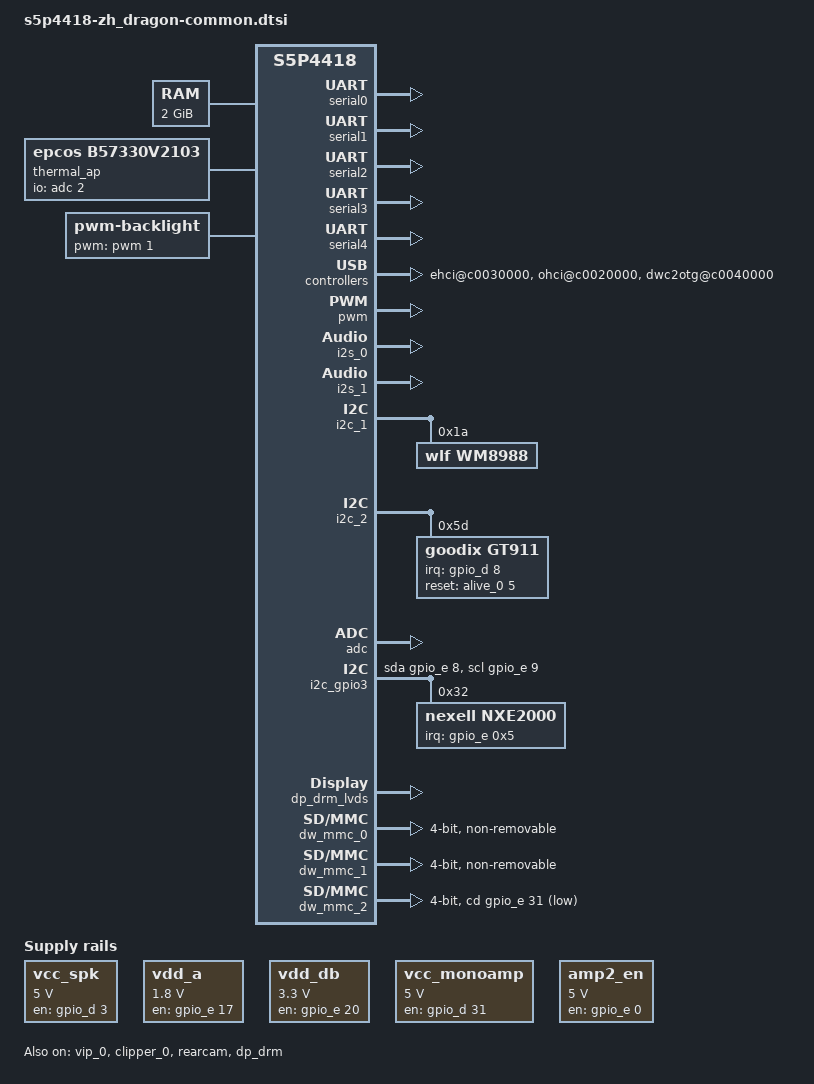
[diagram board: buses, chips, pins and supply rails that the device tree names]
/*
 * Copyright (C) 2016  Nexell Co., Ltd.
 * Author: Youngbok, Park <ybpark@nexell.co.kr>
 *
 * This program is free software; you can redistribute it and/or
 * modify it under the terms of the GNU General Public License
 * as published by the Free Software Foundation; either version 2
 * of the License, or (at your option) any later version.
 *
 * This program is distributed in the hope that it will be useful,
 * but WITHOUT ANY WARRANTY; without even the implied warranty of
 * MERCHANTABILITY or FITNESS FOR A PARTICULAR PURPOSE.  See the
 * GNU General Public License for more details.
 *
 * You should have received a copy of the GNU General Public License
 * along with this program.  If not, see <http://www.gnu.org/licenses/>.
 */

#include <dt-bindings/interrupt-controller/irq.h>
#include <dt-bindings/gpio/gpio.h>
#include <dt-bindings/input/input.h>
#include "nxp4330.dtsi"

/ {
	memory {
		device_type = "memory";
		reg = <0x40000000 0x80000000>;
	};

	psci {
		compatible = "arm,psci-0.2";
		method = "smc";
	};

	aliases {
		i2c3 = &i2c_gpio3;
	};

	nx-v4l2 {
		status = "okay";
	};

	soc {
		#include "s5p4418-pinctrl.dtsi"
		clocks {
			uart0:uart@c00a9000 { clock-frequency = <147500000>; };
			uart1:uart@c00a8000 { clock-frequency = <100000000>; };
			uart2:uart@c00aa000 { clock-frequency = <147500000>; };
			uart3:uart@c00ab000 { clock-frequency = <147500000>; };
			vip0:vip@c00c1000 { src-force = <4>; };

			pwm0:pwm0@c00ba000 {
				clk-input = <I_PLL2>;
				clock-frequency = <10000000>;
			};
			pwm1:pwm1@c00ba000 {
				clk-input = <I_PLL2>;
				clock-frequency = <10000000>;
			};
			pwm2:pwm2@c00be000 {
				clk-input = <I_PLL2>;
				clock-frequency = <10000000>;
			};
			pwm3:pwm3@c00be000 {
				clk-input = <I_PLL2>;
				clock-frequency = <10000000>;
			};

			dummy_clk: dummy_clk {
				#clock-cells = <0>;
				clock-output-names = "dummy_clk";
				compatible = "fixed-clock";
				clock-frequency = <0>;
			};
		};

		pinctrl@C0010000 {
			/delete-node/ i2s2_bus;
			/delete-node/ spi0_bus;
			/delete-node/ spi1_bus;
			/delete-node/ spi2_bus;
			/delete-node/ serial4_pin;
			/delete-node/ mpegts_cap0_data_clk_parallel;
			/delete-node/ nand_ale;
			/delete-node/ spdiftx_pin;
		};

		l2:l2-cache-controller@cf000000 {
			arm,prefetch-offset = <7>;
			prefetch-data = <1>;
			prefetch-instr = <1>;
			arm,tag-latency = <3 4 3>;
			arm,data-latency = <3 4 3>;
		};

		serial0:serial@c00a1000 {
			dmas = <&pl08xdma0 2 0>, <&pl08xdma0 3 0>;
			dma-names = "tx", "rx";
			status ="okay";
		};

		serial1:serial@c00a0000 {
			dmas = <&pl08xdma0 0 0>, <&pl08xdma0 1 0>;
			dma-names = "tx", "rx";
			pinctrl-0 = <&serial1_pin>, <&serial1_flow_cts>,
			    <&serial1_flow_rts>;
			status ="okay";
		};

		serial2:serial@c00a2000 {
			dmas = <&pl08xdma0 4 0>, <&pl08xdma0 5 0>;
			dma-names = "tx", "rx";
			status ="okay";
		};

		serial3:serial@c00a3000 {
			status ="okay";
		};

		serial4:serial@c006d000 {
			status ="okay";
		};

		dynamic-freq@bb000 {
			supply_name = "vdd_core_regulator";
			vdd_core_regulator-supply = <&VCC_DCDC0>;
		};

		amba {
			pl08xdma0:pl08xdma@c0000000 {
				use_isr;

				ch12 {
					slave_wait_flush_dma;
				};

				ch13 {
					slave_wait_flush_dma;
				};

				ch14 {
					slave_wait_flush_dma;
				};

				ch15 {
					slave_wait_flush_dma;
				};
			};

			pl08xdma1:pl08xdma@c0001000 {
				use_isr;

				ch0 {
					slave_wait_flush_dma;
				};

				ch1 {
					slave_wait_flush_dma;
				};
			};
		};

		watchdog@c0019000 {
			status = "okay";
		};

		rtc@c0010c00 {
			status = "okay";
		};

		nexell_usbphy: nexell-usbphy@c0012000 {
			status = "okay";
		};

		ehci@c0030000 {
			status = "okay";
			port@0 {
				status = "okay";
			};
		};

		ohci@c0020000 {
			status = "okay";
			port@0 {
				status = "okay";
			};
		};

		dwc2otg@c0040000 {
			nouse_idcon = <1>;
			status = "okay";
		};

		pwm:pwm@c0018000 {
			clock-names = "timers", "pwm-tclk0", "pwm-tclk1";
			clocks =  <&pclk>, <&pwm0>, <&pwm1>;
			pinctrl-names = "default";
			pinctrl-0 = <&pwm0_pin &pwm1_pin>;
			samsung,pwm-outputs = <0>, <1>;
			status = "okay";
		};

		i2s_0:i2s@c0055000 {
			#sound-dai-cells = <1>;
			master-mode = <1>;
			mclk-in = <0>;
			trans-mode = <0>;
			frame-bit = <32>;
			sample-rate = <48000>;
			pre-supply-mclk = <1>;
			status = "okay";
		};

		i2s_1:i2s@c0056000 {
			#sound-dai-cells = <1>;
			master-mode = <1>;
			mclk-in = <0>;
			trans-mode = <0>;
			frame-bit = <32>;
			sample-rate = <48000>;
			pre-supply-mclk = <1>;
			status = "okay";
		};

		i2c_1:i2c@c00a5000 {
			#address-cells = <1>;
			#size-cells = <0>;
			status = "okay";

			wm8988: wm8988@1a {
				#sound-dai-cells = <0>;
				compatible = "wlf,wm8988";
				reg = <0x1a>;
				clocks = <&dummy_clk>;
				clock-names = "mclk";
			};
		};

		i2c_2:i2c@c00a6000 {
			status = "okay";
			#address-cells = <1>;
			#size-cells = <0>;

			goodix@5d {
				compatible = "goodix,gt911";
				reg = <0x5d>;
				interrupt-parent = <&gpio_d>;
				interrupts = <8 IRQ_TYPE_EDGE_FALLING>;
				irq-gpios = <&gpio_d 8 0>;
				reset-gpios = <&alive_0 5 0>;
			};
		};

		adc:adc@c0053000 {
			status = "okay";
		};

		scaler@c0066000 {
			status = "okay";
		};
	};	/*** soc ***/

	thermal_ap:thermal {
		#thermal-sensor-cells = <0>;
		compatible =  "epcos,b57330v2103";
		pullup-uv = <1800000>;   /* VCC_1.8V_AP */
		pullup-ohm = <4700>;   /* 100K */
		pulldown-ohm = <0>; /* 100K */
		io-channels = <&adc 2>;  /* AP temperature */
		compensation = <17000>; /* Compensation temp */
	};


	thermal-zones {
		cpu0_thermal: cpu0-thermal {
			thermal-sensors = <&thermal_ap>;
			polling-delay-passive = <1000>;
			polling-delay = <1000>;
			trips {
				cpu_alert0: cpu-alert-0 {
					temperature = <70000>;
					hysteresis = <100000>;
					type = "active";
				};
				cpu_alert1: cpu-alert-1 {
					temperature = <85000>;
					hysteresis = <100000>;
					type = "passive";
				};
				cpu-crit-0 {
					temperature = <115000>;
					hysteresis = <100000>;
					type = "critical";
				};
			};

			cooling-maps {
				map0 {
					trip = <&cpu_alert0>;
					cooling-device = <&cpu0 2 2>;
				};
				map1 {
					trip = <&cpu_alert1>;
					cooling-device = <&cpu0 6 6>;
				};
			};
		};
	};

	vcc_spk: regulator-fix@0 {
		compatible = "regulator-fixed";

		regulator-name = "SPK Vcc";
		regulator-min-microvolt = <5000000>;
		regulator-max-microvolt = <5000000>;
		regulator-boot-on;
		regulator-always-on;

		gpio = <&gpio_d 3 GPIO_ACTIVE_HIGH>;
		enable-active-high;
	};

	vdd_a: regulator-fix@1 {
		compatible = "regulator-fixed";

		regulator-name = "A Vdd";
		regulator-min-microvolt = <1800000>;
		regulator-max-microvolt = <1800000>;
		regulator-boot-on;
		regulator-always-on;

		gpio = <&gpio_e 17 GPIO_ACTIVE_HIGH>;
		enable-active-high;
	};

	vdd_db: regulator-fix@2 {
		compatible = "regulator-fixed";

		regulator-name = "DB Vdd";
		regulator-min-microvolt = <3300000>;
		regulator-max-microvolt = <3300000>;
		regulator-boot-on;
		regulator-always-on;

		gpio = <&gpio_e 20 GPIO_ACTIVE_HIGH>;
		enable-active-high;
	};

	vcc_monoamp: regulator-fix@3 {
		compatible = "regulator-fixed";

		regulator-name = "MONOAMP Vcc";
		regulator-min-microvolt = <5000000>;
		regulator-max-microvolt = <5000000>;
		regulator-boot-on;
		regulator-always-on;

		gpio = <&gpio_d 31 GPIO_ACTIVE_HIGH>;
		enable-active-high;
	};

	amp2_en: regulator-fix@4 {
		compatible = "regulator-fixed";

		regulator-name = "AMP2 EN";
		regulator-min-microvolt = <5000000>;
		regulator-max-microvolt = <5000000>;
		regulator-boot-on;
		regulator-always-on;

		gpio = <&gpio_e 0 GPIO_ACTIVE_HIGH>;
		enable-active-high;
	};

	i2c_gpio3: i2c@3 {
		status = "disabled";
	};

	nexell-ion@0 {
		compatible = "nexell,ion";

		heap_sys_user@0 {
			heap-type = "ion_system";
		};

		heap_sys_contig@0 {
			heap-type = "ion_system_contig";
		};

		heap_dma@0 {
			heap-type = "ion_dma";
		};
	};

	backlight: pwm-backlight {
		compatible = "pwm-backlight";
		pwm-names = "pwm-backlight";
		pwms = <&pwm 1 50000 0>;
		brightness-levels = <
			0 1 2 3 4 5 6 7 8 9
			10 11 12 13 14 15 16 17 18 19
			20 21 22 23 24 25 26 27 28 29
			30 31 32 33 34 35 36 37 38 39
			40 41 42 43 44 45 46 47 48 49
			50 51 52 53 54 55 56 57 58 59
			60 61 62 63 64 65 66 67 68 69
			70 71 72 73 74 75 76 77 78 79
			80 81 82 83 84 85 86 87 88 89
			90 91 92 93 94 95 96 97 98 99
			100 101 102 103 104 105 106 107 108 109
			110 111 112 113 114 115 116 117 118 119
			120 121 122 123 124 125 126 127 128 129
			130 131 132 133 134 135 136 137 138 139
			140 141 142 143 144 145 146 147 148 149
			150 151 152 153 154 155 156 157 158 159
			160 161 162 163 164 165 166 167 168 169
			170 171 172 173 174 175 176 177 178 179
			180 181 182 183 184 185 186 187 188 189
			190 191 192 193 194 195 196 197 198 199
			200 201 202 203 204 205 206 207 208 209
			210 211 212 213 214 215 216 217 218 219
			220 221 222 223 224 225 226 227 228 229
			230 231 232 233 234 235 236 237 238 239
			240 241 242 243 244 245 246 247 248 249
			250 251 252 253 254 255
			>;
		default-brightness-level = <200>;
		status = "okay";
	};

	snd_null: snd_null@0 {
		#sound-dai-cells = <0>;
		compatible = "nexell,snd-null";
		#address-cells = <1>;
		#size-cells = <0>;
		reg = <0 0>;
	};

	sound {
		compatible = "nexell,simple-audio-card";
		simple-audio-card,name = "s5p4418 ZH dragon Audio";

		simple-audio-card,widgets =
		    "Headphone", "Out Jack";
		simple-audio-card,routing =
		    "Out Jack", "LOUT2",
		    "Out Jack", "ROUT2";

		status = "okay";
		simple-audio-card,dai-link@0 {
			format = "i2s";
			cpu {
				sound-dai = <&i2s_0 0>;
			};
			codec {
				sound-dai = <&snd_null>;
			};
		};
		simple-audio-card,dai-link@1 {
			format = "i2s";
			cpu {
				sound-dai = <&i2s_1 0>;
			};
			codec {
				sound-dai = <&wm8988>;
			};
		};
	}; /* sound */
};

&vip_0 {
	status = "okay";
};

&clipper_0 {
	interface_type = <NX_CAPTURE_INTERFACE_PARALLEL>;
	pinctrl-names = "default";
	pinctrl-0 = <&vid0_data_clk>;
	data_order = <NX_VIN_CBY0CRY1>;
	port = <0>;
	external_sync = <0>;
	interlace = <1>;
	status = "okay";

	sensor {
		type = <NX_CAPTURE_SENSOR_I2C>;
		i2c_name = "tp2825";
		i2c_adapter = <1>;
		addr = <0x44>;
	};
};

#include "tp2825_rearcam_regset.dtsi"
&rearcam {
	pinctrl-names = "rear_cam_clk";
	pinctrl-0 = <&vid0_data_clk>;
	rotation = <0>;
	skip_frame = <5>;
	rear_cam_dev = <&clipper_0>;
	draw_ioctl_overlay = <1>;
	sensor_reg = <&sensor_tp2825>;
	display = <&dp_drm>;
	dp_drm_dev = <&dp_drm_lvds>;
	width = <1920>;
	height = <480>;
	status = "okay";

	gpio {
		event-gpio = <&gpio_b 11 0>;
		active_high = <0>;
		detect_delay = <0>;
	};

	mlc {
		module = <0>;
		format = <0x06530000>;
	};

	dpc {
		module = <0>;
	};
};

&dp_drm {
	status = "okay";
	ports {
		port@0 {
			reg = <0>;
			back_color = < 0x0 >;
			color_key = < 0x0 >;
			plane-names = "rgb", "primary", "video";
		};
		port@1 {
			reg = <1>;
			back_color = < 0x0 >;
			color_key = < 0x0 >;
			plane-names = "primary", "video";
		};
	};
};

&dp_drm_lvds {
	status = "ok";

	display-timing {
		clock-frequency = <50000000>;
		hactive = <1024>;
		vactive = <600>;
		hfront-porch = <160>;
		hback-porch = <160>;
		hsync-len = <2>;
		vfront-porch = <15>;
		vback-porch = <23>;
		vsync-len = <14>;
	};

	dp_control {
		clk_src_lv0 = <0>;
		clk_div_lv0 = <16>;
		clk_src_lv1 = <7>;
		clk_div_lv1 = <1>;
		out_format = <3>;
	};
};

&dw_mmc_0 {
	num-slots = <1>;
	bus-width = <4>;
	cap-mmc-highspeed;
	broken-cd;
	non-removable;
	clock-frequency = <200000000>;
	card-detect-delay = <0>;
	disable-wp;
	overclock;
	nexell,drive_dly = <0x0>;
	nexell,drive_shift = <0x02>;
	nexell,sample_dly = <0x00>;
	nexell,sample_shift = <0x01>;
	status = "okay";
};

&dw_mmc_1 {
	num-slots = <1>;
	bus-width = <4>;
	cap-mmc-highspeed;
	broken-cd;
	non-removable;
	clock-frequency = <100000000>;
	card-detect-delay = <200>;
	disable-wp;
	nexell,drive_dly = <0x0>;
	nexell,drive_shift = <0x02>;
	nexell,sample_dly = <0x00>;
	nexell,sample_shift = <0x01>;
	status = "okay";
};

&dw_mmc_2 {
	num-slots = <1>;
	bus-width = <4>;
	cap-sd-highspeed;
	clock-frequency = <100000000>;
	card-detect-delay = <200>;
	disable-wp;
	cd-gpios = <&gpio_e 31 0>;
	cd-inverted;
	nexell,drive_dly = <0x0>;
	nexell,drive_shift = <0x02>;
	nexell,sample_dly = <0x00>;
	nexell,sample_shift = <0x01>;
	status = "okay";
};

#define PMIC_PDATA_INIT(_id, _rname, _minuv,	\
			_maxuv, _init_uv, _init_enable,		\
			_set_init_uV, _slp_slots)	\
		regulator-name = _rname;		\
		regulator-min-microvolt = <_minuv>;	\
		regulator-max-microvolt = <_maxuv>;	\
		nx,id = <_id>;				\
		nx,init_enable = <_init_enable>;	\
		nx,init_uV = <_init_uv>;		\
		nx,set_init_uV = <_set_init_uV>;	\
		nx,sleep_slots = <_slp_slots>;


&i2c_gpio3 {
	compatible = "i2c-gpio";
	gpios = <&gpio_e 8 0		/* SDA */
			&gpio_e 9 0		/* SCL */
			>;
	#address-cells = <1>;
	#size-cells = <0>;
	status = "okay";

	nxe2000@32 {
		compatible = "nexell,nxe2000";
		reg = <0x32>;
		interrupt-parent = <&gpio_e>;
		interrupts = <0x5 IRQ_TYPE_EDGE_FALLING>;

		regulators {
			VCC_DCDC0:
				dcdc1	{ PMIC_PDATA_INIT( 0,
					"nxe2000_dcdc1",
					900000, 1500000,
					1100000, 1, 0, 0x4)
					regulator-always-on;
					regulator-boot-on;};
			VCC_DCDC1:
				dcdc2	{ PMIC_PDATA_INIT( 1,
					"nxe2000_dcdc2",
					1000000, 1500000,
					1200000, 1, 0, 0x4)
					regulator-always-on;
					regulator-boot-on;};
			VCC_DCDC2:
				dcdc3	{ PMIC_PDATA_INIT( 2,
					"nxe2000_dcdc3",
					1000000, 3500000,
					3300000, 1, 1, 0x0)
					regulator-always-on;
					regulator-boot-on;};
			VCC_DCDC3:
				dcdc4	{ PMIC_PDATA_INIT( 3,
					"nxe2000_dcdc4",
					1000000, 2000000,
					1500000, 1, 0, 0xF)
					regulator-always-on;
					regulator-boot-on;};
			VCC_DCDC4:
				dcdc5	{ PMIC_PDATA_INIT( 4,
					"nxe2000_dcdc5",
					1000000, 2000000,
					1500000, 1, 0, 0x4)
					regulator-always-on;
					regulator-boot-on;};
			VCC_LDO0:
				ldo1	{ PMIC_PDATA_INIT( 5,
					"nxe2000_ldo1",
					1000000, 3500000,
					3300000, 0, 1, 0x0)
					regulator-boot-on;};
			VCC_LDO1:
				ldo2	{ PMIC_PDATA_INIT( 6,
					"nxe2000_ldo2",
					1000000, 3500000,
					3300000, 0, 1, 0x0)
					regulator-boot-on;};
			VCC_LDO2:
				ldo3	{ PMIC_PDATA_INIT( 7,
					"nxe2000_ldo3",
					1000000, 3500000,
					1800000, 1, 1, 0x2)
					regulator-always-on;
					regulator-boot-on;};
			VCC_LDO3:
				ldo4	{ PMIC_PDATA_INIT( 8,
					"nxe2000_ldo4",
					1000000, 3500000,
					1800000, 1, 1, 0x2)
					regulator-always-on;
					regulator-boot-on;};
			VCC_LDO4:
				ldo5	{ PMIC_PDATA_INIT( 9,
					"nxe2000_ldo5",
					1000000, 3500000,
					3300000, 0, 1, 0x0)
					regulator-boot-on;};
			VCC_LDO5:
				ldo6	{ PMIC_PDATA_INIT(10,
					"nxe2000_ldo6",
					1000000, 3500000,
					3300000, 1, 1, 0xF)
					regulator-always-on;
					regulator-boot-on;};
			VCC_LDO6:
				ldo7	{ PMIC_PDATA_INIT(11,
					"nxe2000_ldo7",
					1000000, 3500000,
					3300000, 1, 1, 0x1)
					regulator-always-on;
					regulator-boot-on;};
			VCC_LDO7:
				ldo8	{ PMIC_PDATA_INIT(12,
					"nxe2000_ldo8",
					1000000, 3500000,
					3300000, 0, 1, 0x0)
					regulator-boot-on;};
			VCC_LDO8:
				ldo9	{ PMIC_PDATA_INIT(13,
					"nxe2000_ldo9",
					1000000, 3500000,
					1800000, 0, 1, 0x0)
					regulator-boot-on;};
			VCC_LDO9:
				ldo10	{ PMIC_PDATA_INIT(14,
					"nxe2000_ldo10",
					1000000, 3500000,
					1200000, 1, 1, 0x0)
					regulator-always-on;
					regulator-boot-on;};
			VCC_RTC0:
				ldortc1	{ PMIC_PDATA_INIT(15,
					"nxe2000_rtc1",
					1700000, 3500000,
					1800000, 1, 1, 0xF)
					regulator-always-on;
					regulator-boot-on;};
			VCC_RTC1:
				ldortc2	{ PMIC_PDATA_INIT(16,
					"nxe2000_rtc2",
					1000000, 3500000,
					1000000, 1, 1, 0xF)
					regulator-always-on;
					regulator-boot-on;};
		}; /* regulators */
	}; /* nxe2000@32 */
}; /* i2c_gpio7 */

